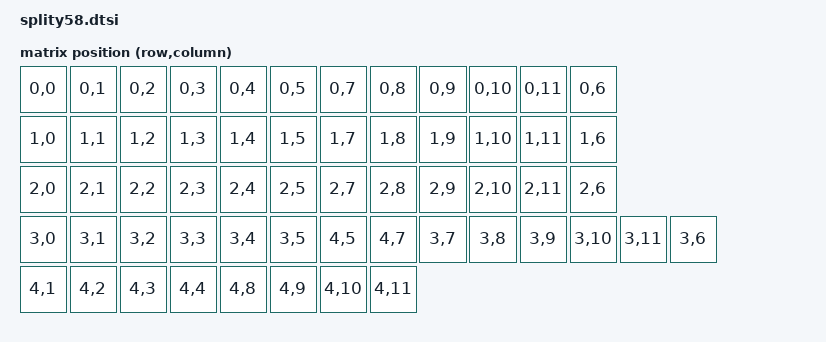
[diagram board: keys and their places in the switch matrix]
#include "splity58-layouts.dtsi"
#include <dt-bindings/zmk/matrix_transform.h>

/ {
    matrix_transform0: matrix_transform0 {
        compatible = "zmk,matrix-transform";
        columns = <12>;
        rows = <5>;
        map = <
            RC(0,0) RC(0,1) RC(0,2) RC(0,3) RC(0,4) RC(0,5) RC(0,7) RC(0,8) RC(0,9) RC(0,10) RC(0,11) RC(0,6)
            RC(1,0) RC(1,1) RC(1,2) RC(1,3) RC(1,4) RC(1,5) RC(1,7) RC(1,8) RC(1,9) RC(1,10) RC(1,11) RC(1,6)
            RC(2,0) RC(2,1) RC(2,2) RC(2,3) RC(2,4) RC(2,5) RC(2,7) RC(2,8) RC(2,9) RC(2,10) RC(2,11) RC(2,6)
            RC(3,0) RC(3,1) RC(3,2) RC(3,3) RC(3,4) RC(3,5) RC(4,5) RC(4,7) RC(3,7) RC(3,8) RC(3,9) RC(3,10) RC(3,11) RC(3,6)
            RC(4,1) RC(4,2) RC(4,3) RC(4,4) RC(4,8) RC(4,9) RC(4,10) RC(4,11)
        >;
    };

    aliases {
        led-red = &led0;
        led-green = &led1;
        led-blue = &led2;
    };

    leds {
        compatible = "gpio-leds";
        status = "okay";
        led0: led_0 {
            gpios = <&pro_micro 9 GPIO_ACTIVE_HIGH>;  // red LED, connected to P0.26
        };
        led1: led_1 {
            gpios = <&pro_micro 9 GPIO_ACTIVE_HIGH>;  // green LED, connected to P0.30
        };
        led2: led_2 {
            gpios = <&pro_micro 9 GPIO_ACTIVE_HIGH>;  // blue LED, connected to P0.06
        };
    };
};

&physical_layout_splity58 {
    transform = <&matrix_transform0>;
};
